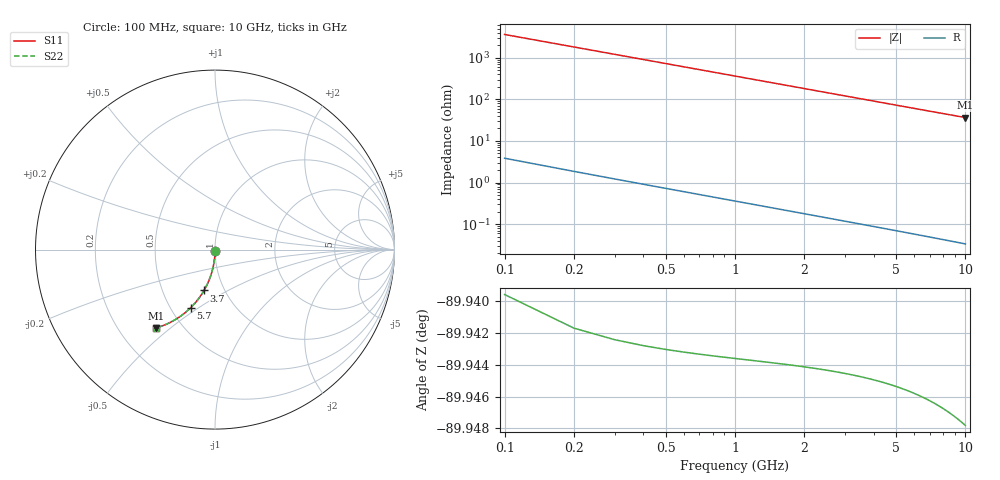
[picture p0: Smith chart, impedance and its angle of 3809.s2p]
# Hz S RI R 50.00
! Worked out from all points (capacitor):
!   100 points, 100 MHz to 10 GHz, reference 50 ohm
!   read as one part in shunt: C = 437 fF near 100 MHz
!   lowest |Z| = 36.6 ohm at 10 GHz (marker M1)
!   S11 on the Smith chart (normalised r, x): 100 MHz: 1.00, -0.01; 3.7 GHz: 0.80, -0.39; 5.7 GHz: 0.63, -0.46; 10 GHz: 0.36, -0.45
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1e8  5.39e-05 -0.00655  0.9998 -0.00719  0.9998 -0.00719  5.39e-05 -0.00655
2e8  -9.33e-05 -0.0131  0.9997 -0.0144  0.9997 -0.0144  -9.33e-05 -0.0131
3e8  -0.000335 -0.0196  0.9994 -0.0216  0.9994 -0.0216  -0.000335 -0.0196
4e8  -0.00067 -0.0262  0.9991 -0.0287  0.9991 -0.0287  -0.00067 -0.0262
5e8  -0.0011 -0.0327  0.9987 -0.0359  0.9987 -0.0359  -0.0011 -0.0327
6e8  -0.00162 -0.0392  0.9981 -0.0431  0.9981 -0.0431  -0.00162 -0.0392
8e8  -0.00295 -0.0522  0.9968 -0.0574  0.9968 -0.0574  -0.00295 -0.0522
9e8  -0.00375 -0.0587  0.996 -0.0645  0.996 -0.0645  -0.00375 -0.0587
1.1e9  -0.00563 -0.0716  0.9941 -0.0787  0.9941 -0.0787  -0.00563 -0.0716
1.4e9  -0.00913 -0.0908  0.9906 -0.0998  0.9906 -0.0998  -0.00913 -0.0908
1.8e9  -0.0151 -0.1161  0.9846 -0.1277  0.9846 -0.1277  -0.0151 -0.1161
2.1e9  -0.0204 -0.1347  0.9793 -0.1482  0.9793 -0.1482  -0.0204 -0.1347
2.5e9  -0.0287 -0.159  0.9709 -0.1751  0.9709 -0.1751  -0.0287 -0.159
2.9e9  -0.0383 -0.1826  0.9613 -0.2013  0.9613 -0.2013  -0.0383 -0.1826
3.4e9  -0.052 -0.2111  0.9475 -0.233  0.9475 -0.233  -0.052 -0.2111
3.7e9  -0.0611 -0.2275  0.9384 -0.2514  0.9384 -0.2514  -0.0611 -0.2275
4.4e9  -0.0844 -0.2637  0.915 -0.2922  0.915 -0.2922  -0.0844 -0.2637
5.1e9  -0.1104 -0.2969  0.8888 -0.3299  0.8888 -0.3299  -0.1104 -0.2969
5.7e9  -0.1345 -0.3227  0.8646 -0.3597  0.8646 -0.3597  -0.1345 -0.3227
6.7e9  -0.1773 -0.3601  0.8215 -0.4037  0.8215 -0.4037  -0.1773 -0.3601
8.4e9  -0.2543 -0.408  0.7439 -0.4629  0.7439 -0.4629  -0.2543 -0.408
1e10  -0.3273 -0.4363  0.6702 -0.5021  0.6702 -0.5021  -0.3273 -0.4363
